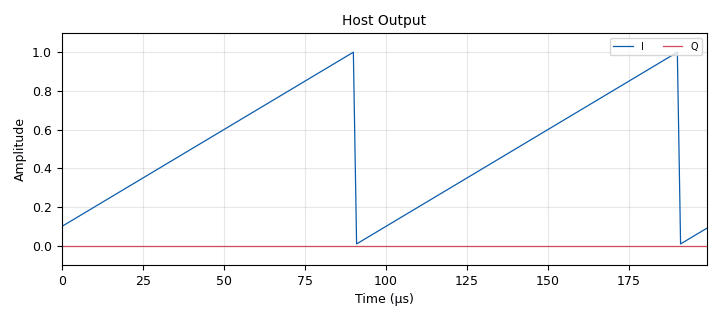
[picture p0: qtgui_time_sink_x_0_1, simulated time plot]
options:
  parameters:
    author: Martin Braun <martin.braun@ettus.com>
    comment: |-
      This scope is configured to show 2 full saw tooth
      phases, when the decimation is set to 1.
      When the decimation factor (n) is adjusted, you can observe 
      more teeth over a longer time periode.
      All while using the same "Number of Points" in the QT GUI Time sink.
    generate_options: qt_gui
    generator_class_name: PythonQtGuiGenerator
    generator_module: gnuradio.grc.workflows.python_qt_gui
    id: rfnoc_radio_window
    output_language: python
    title: 'RFNoC: Keep-one-in-N Example'
  states: {}

blocks:
- name: device_type
  id: variable
  parameters:
    value: '"type=x4xx"'
  states: {state: disabled}
- name: device_type
  id: variable
  parameters:
    value: '"type=x300"'
  states: {}
- name: device_type
  id: variable
  parameters:
    value: '"type=n3xx"'
  states: {state: disabled}
- name: device_type
  id: variable
  parameters:
    value: '"type=e3xx"'
  states: {state: disabled}
- name: n
  id: variable_qtgui_range
  parameters:
    comment: |-
      This entry widgets lets you select how many samples
      to decimate by. If you set it to 1, it won't decimate.
      Set it to 2, it will decimate by 2 and so on.
    label: N
    orient: QtCore.Qt.Orientation.Horizontal
    rangeType: int
    start: '1'
    step: '1'
    stop: '10'
    value: '1'
  states: {}
- name: samp_rate
  id: variable
  parameters:
    value: 1e6
  states: {}
- name: uhd_rfnoc_graph
  id: uhd_rfnoc_graph
  parameters:
    dev_addr: device_type
  states: {}
- name: analog_sig_source_x_0
  id: analog_sig_source_x
  parameters:
    amp: '1'
    freq: 1/100
    offset: '0'
    phase: '0'
    samp_rate: '1.0'
    type: float
    waveform: analog.GR_SAW_WAVE
  states: {}
- name: blocks_float_to_complex_0
  id: blocks_float_to_complex
  parameters: {}
  states: {}
- name: blocks_keep_m_in_n_0
  id: blocks_keep_m_in_n
  parameters:
    m: '1'
    n: n
    offset: '0'
    type: complex
  states: {}
- name: blocks_throttle2_0
  id: blocks_throttle2
  parameters:
    samples_per_second: samp_rate
    type: complex
  states: {}
- name: qtgui_time_sink_x_0
  id: qtgui_time_sink_x
  parameters:
    entags: 'False'
    grid: 'True'
    gui_hint: 1,0,32,1
    label1: I
    label2: Q
    name: '"RFNoC Output"'
    size: '200'
    srate: samp_rate/n
    tr_level: 10/100
    tr_mode: qtgui.TRIG_MODE_AUTO
    type: complex
    update_time: '0.01'
    ymax: '1.1'
    ymin: '-0.1'
  states: {}
- name: qtgui_time_sink_x_0_1
  id: qtgui_time_sink_x
  parameters:
    entags: 'False'
    grid: 'True'
    gui_hint: 33,0,32,1
    label1: I
    label2: Q
    name: '"Host Output"'
    size: '200'
    srate: samp_rate/n
    tr_level: 10/100
    tr_mode: qtgui.TRIG_MODE_AUTO
    type: complex
    update_time: '0.01'
    ymax: '1.1'
    ymin: '-0.1'
  states: {}
- name: uhd_rfnoc_keep_one_in_n_0
  id: uhd_rfnoc_keep_one_in_n
  parameters:
    mode: SAMPLE
    n: n
  states: {}
- name: uhd_rfnoc_rx_streamer_0
  id: uhd_rfnoc_rx_streamer
  parameters:
    issue_stream_cmd: 'True'
    otw: sc16
    output_type: fc32
  states: {}
- name: uhd_rfnoc_tx_streamer_0
  id: uhd_rfnoc_tx_streamer
  parameters:
    input_type: fc32
    otw: sc16
  states: {}

connections:
- [analog_sig_source_x_0, '0', blocks_float_to_complex_0, '0']
- [blocks_float_to_complex_0, '0', blocks_throttle2_0, '0']
- [blocks_keep_m_in_n_0, '0', qtgui_time_sink_x_0_1, '0']
- [blocks_throttle2_0, '0', blocks_keep_m_in_n_0, '0']
- [blocks_throttle2_0, '0', uhd_rfnoc_tx_streamer_0, '0']
- {params: {is_back_edge: 'False'}, snk_blk_id: uhd_rfnoc_rx_streamer_0, snk_port_id: '0', src_blk_id: uhd_rfnoc_keep_one_in_n_0, src_port_id: '0'}
- [uhd_rfnoc_rx_streamer_0, '0', qtgui_time_sink_x_0, '0']
- {params: {is_back_edge: 'False'}, snk_blk_id: uhd_rfnoc_keep_one_in_n_0, snk_port_id: '0', src_blk_id: uhd_rfnoc_tx_streamer_0, src_port_id: '0'}

metadata:
  file_format: 2
  grc_version: 3.6.1git-10499-g766da84e
